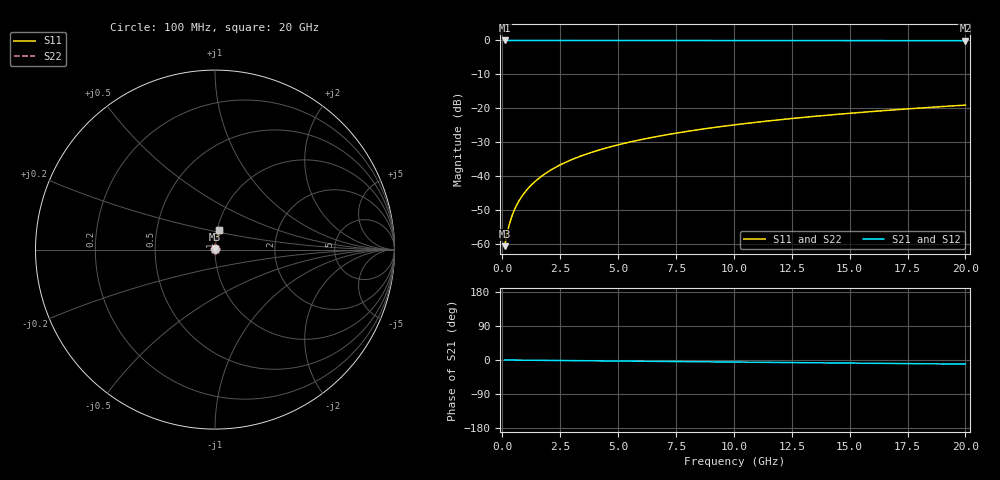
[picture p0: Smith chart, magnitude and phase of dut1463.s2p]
! Touchstone file exported from HFSS 2026.1.0
!  File:  C:/ffzhzh/LocalFiles/Ansys_Project_Files/temp_train_TSV_1463_1783198149_22436.aedt
!  Generated:  04:51:28 AM Jul  5, 2026
!  Design:  TSV
!  Project:  temp_train_TSV_1463_1783198149_22436
! Variables:
!  h_bsmrdl = 2um
!  h_ox = 20um
!  h_rdl = 5um
!  h_sub = 84.37um
!  h_tmrdl = 5um
!  h_tsv = 84.37um
!  h_via = 3um
!  l_bsmrdl = 300um
!  l_sub = 407.52um
!  l_tmrdl = 200um
!  m_sub = 200um
!  pitch = 46.65um
!  r_tsv = 3.76um
!  s_tmrdl = 10um
!  w_bsmrdl = 18um
!  w_sub = 500um
!  w_tmrdl = 12um
!  x_tsv_center1 = 206um
!  x_tsv_center2 = 524um
!  x_tsv_center3 = 736um
!  x_tsv_center4 = 1054um
!  x_tsv_center5 = 1266um
!  x_tsv_center6 = 1584um
# GHz S MA R 50.000000
! Terminal data exported
! Port[1] = TSV1_1_T1
! Port[2] = TSV1_1_T2
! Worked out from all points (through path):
!   200 points, 100 MHz to 20 GHz, reference 50 ohm
!   highest |S21| = -0.01 dB at 100 MHz (marker M1); lowest = -0.1 dB at 20 GHz (marker M2)
!   group delay of S21, straight-line fit = 1.5 ps
!   lowest |S11| = -60.6 dB at 100 MHz (marker M3), VSWR 1.00, Z = 50.1 + j0.06 ohm
!   |S11| at or under -10 dB: start of sweep to end of sweep
!   |S22| runs from -60.6 to -19.1 dB; largest |S21 - S12| = 3.3e-15
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0.1  0.0009284 40.2  0.9993 -0.1  0.9993 -0.1  0.0009284 40.2
! Gamma 0 0 0 0
! Port Impedance 50 0 50 0
0.2  0.001395 58.9  0.9993 -0.1  0.9993 -0.1  0.001395 58.9
0.3  0.00193 67.7  0.9993 -0.2  0.9993 -0.2  0.00193 67.7
0.4  0.002487 72.5  0.9993 -0.2  0.9993 -0.2  0.002487 72.5
0.5  0.003053 75.5  0.9992 -0.3  0.9992 -0.3  0.003053 75.5
0.6  0.003625 77.6  0.9992 -0.3  0.9992 -0.3  0.003625 77.6
0.8  0.004776 80.2  0.9992 -0.4  0.9992 -0.4  0.004776 80.2
1.1  0.006512 82.4  0.9992 -0.6  0.9992 -0.6  0.006512 82.4
1.5  0.008835 83.8  0.9991 -0.8  0.9991 -0.8  0.008835 83.8
1.8  0.01058 84.3  0.9991 -1.0  0.9991 -1.0  0.01058 84.3
2.1  0.01232 84.6  0.999 -1.2  0.999 -1.2  0.01232 84.6
2.7  0.01579 84.9  0.9989 -1.5  0.9989 -1.5  0.01579 84.9
3.5  0.02039 85.0  0.9987 -1.9  0.9987 -1.9  0.02039 85.0
4.2  0.02439 84.8  0.9985 -2.3  0.9985 -2.3  0.02439 84.8
5  0.02893 84.6  0.9982 -2.8  0.9982 -2.8  0.02893 84.6
5.9  0.03402 84.2  0.9979 -3.2  0.9979 -3.2  0.03402 84.2
6.8  0.03907 83.9  0.9976 -3.7  0.9976 -3.7  0.03907 83.9
8.3  0.04744 83.2  0.997 -4.5  0.997 -4.5  0.04744 83.2
10.1  0.05742 82.5  0.9963 -5.5  0.9963 -5.5  0.05742 82.5
13.4  0.0756 80.9  0.9948 -7.3  0.9948 -7.3  0.0756 80.9
16.7  0.0936 79.4  0.993 -9.0  0.993 -9.0  0.0936 79.4
20  0.1114 77.7  0.9909 -10.8  0.9909 -10.8  0.1114 77.7
